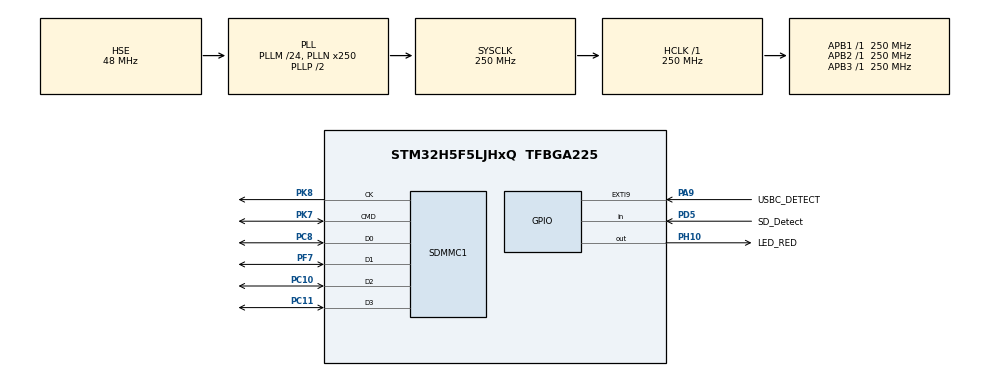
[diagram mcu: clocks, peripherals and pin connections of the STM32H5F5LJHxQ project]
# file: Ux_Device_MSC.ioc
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CORTEX_M33_NS.userName=CORTEX_M33
Mcu.Family=STM32H5
Mcu.Name=STM32H5F5LJHxQ
Mcu.Package=TFBGA225
NVIC.EXTI9_IRQn=true\:5\:0\:true\:false\:true\:false\:true\:true\:true
NVIC.OTG_HS_IRQn=true\:6\:0\:true\:false\:true\:false\:true\:true\:true
NVIC.PriorityGroup=NVIC_PRIORITYGROUP_4
NVIC.SDMMC1_IRQn=true\:5\:0\:true\:false\:true\:false\:true\:true\:true
NVIC.TIM6_IRQn=true\:15\:0\:false\:false\:true\:false\:false\:true\:true
NVIC.TimeBase=TIM6_IRQn
NVIC.TimeBaseIP=TIM6
OTG_HS_DM.Mode=Internal_Phy_Device
OTG_HS_DM.Signal=USB_OTG_HS_DM
OTG_HS_DP.Mode=Internal_Phy_Device
OTG_HS_DP.Signal=USB_OTG_HS_DP
PA9.GPIO_Label=USBC_DETECT
PA9.GPIO_ModeDefaultEXTI=GPIO_MODE_IT_RISING_FALLING
PA9.Signal=GPXTI9
PC10.Mode=SD_4_bits_Wide_bus
PC10.Signal=SDMMC1_D2
PC11.Mode=SD_4_bits_Wide_bus
PC11.Signal=SDMMC1_D3
PC8.Mode=SD_4_bits_Wide_bus
PC8.Signal=SDMMC1_D0
PD5.GPIO_Label=SD_Detect
PD5.GPIO_PuPd=GPIO_PULLUP
PD5.Signal=GPIO_Input
PF7.Mode=SD_4_bits_Wide_bus
PF7.Signal=SDMMC1_D1
PH0-OSC_IN(PH0).Mode=HSE-External-Oscillator
PH0-OSC_IN(PH0).Signal=RCC_OSC_IN
PH1-OSC_OUT(PH1).Mode=HSE-External-Oscillator
PH1-OSC_OUT(PH1).Signal=RCC_OSC_OUT
PH10.GPIO_Label=LED_RED
PH10.GPIO_Speed=GPIO_SPEED_FREQ_VERY_HIGH
PH10.PinState=GPIO_PIN_SET
PH10.Signal=GPIO_Output
PK7.Mode=SD_4_bits_Wide_bus
PK7.Signal=SDMMC1_CMD
PK8.Mode=SD_4_bits_Wide_bus
PK8.Signal=SDMMC1_CK
ProjectManager.HeapSize=0x200
ProjectManager.StackSize=0x400
ProjectManager.TargetToolchain=EWARM V9.20
RCC.ADCFreq_Value=250000000
RCC.AHBFreq_Value=250000000
RCC.APB1Freq_Value=250000000
RCC.APB1TimFreq_Value=250000000
RCC.APB2Freq_Value=250000000
RCC.APB2TimFreq_Value=250000000
RCC.APB3Freq_Value=250000000
RCC.CSI_VALUE=4000000
RCC.CortexFreq_Value=250000000
RCC.EPOD_VALUE=48000000
RCC.HCLKFreq_Value=250000000
RCC.HSE_VALUE=48000000
RCC.HSI48_VALUE=48000000
RCC.HSI_VALUE=64000000
RCC.LSE_VALUE=32768
RCC.LSIRC_VALUE=32000
RCC.PLL2FRACN=0
RCC.PLL3FRACN=0
RCC.PLLFRACN=0
RCC.PLLM=24
RCC.PLLN=250
RCC.PLLSourceVirtual=RCC_PLL1_SOURCE_HSE
RCC.SYSCLKFreq_VALUE=250000000
RCC.SYSCLKSource=RCC_SYSCLKSOURCE_PLLCLK
RCC.USBFreq_Value=258000000
RCC.USBPHYCLKSource=RCC_OTGHSCLKSOURCE_HSE_DIV2
RCC.VCOOutputFreq_Value=500000000
SDMMC1.ClockDiv=4
THREADX.TX_APP_GENERATE_INIT_CODE=false
USBX.BSP.number=1
USBX.Core_System=1
USBX.MAX_POWER_IN_MILLI_AMPER=0
USBX.MAX_POWER_IN_MILLI_AMPER-UX_Device_CoreStack_HS=0
USBX.REG_USBX_DEVICE_CON_CK-UX_Device_CoreStack_HS=0
USBX.USBD_COMPOSITE_USE_IAD-UX_Device_CoreStack_HS=0
USBX.USBD_MSC_EPOUT_ADDR=1
USBX.USBD_PID-UX_Device_CoreStack_HS=22304
USBX.USBD_PRODUCT_STRING-UX_Device_CoreStack_HS=STM32 MSC SD Storage
USBX.USBD_SERIAL_NUMBER-UX_Device_CoreStack_HS=MSC000000001
USBX.USBX_MEM_POOL_VAR_NAME=ux_device_app_byte_pool
USBX.USBX_SYS_SIZE=1024 * 5
USBX.UX_APP_MEM_POOL_SIZE=1024 * 7
USBX.UX_DEVICE_ENABLED_HS=1
USBX.UX_DEVICE_STORAGE=1
USBX.UX_Device_Controller-UX_Device_Controller_HS=1
USBX.UX_Device_CoreStack=1
USBX.UX_Device_CoreStack-UX_Device_CoreStack_HS=1
USBX.UX_SLAVE_CLASS_STORAGE_INCLUDE_MMC=0
USBX.UX_SLAVE_REQUEST_DATA_MAX_LENGTH-UX_Device_CoreStack_HS=512
USBX.UX_enabled_HS=1
USBX0.BSP.STBoard=false
USBX0.BSP.api=Unknown
USBX0.BSP.instance=USB_OTG_HS
USBX0.BSP.ip=USB_OTG_HS
USBX0.BSP.mode=Device_Only
USBX0.BSP.name=UX Device HS
USBX0.BSP.solution=USB_OTG_HS
USB_OTG_HS.VirtualMode=Int_Phy_Device
VP_CORTEX_M33_NS_VS_Hclk.Mode=Hclk_Mode
VP_ICACHE_VS_ICACHE.Mode=DefaultMode
VP_PWR_VS_LPOM.Mode=PowerOptimisation
VP_PWR_VS_SECSignals.Mode=Security/Privilege
VP_SYS_VS_tim6.Mode=TIM6
VP_THREADX_VS_RTOSJjThreadXJjCoreJjDefault.Mode=Core_Default
VP_USBX_Core_System.Mode=Core_System
VP_USBX_UX\ Device\ Controller_HS.Mode=UX_Device_Controller_HS
VP_USBX_UX\ Device\ CoreStack_HS.Mode=UX_Device_CoreStack
VP_USBX_UX\ Device\ MSC_HS.Mode=UX_Device_class_MSC_FS_HS
board=custom

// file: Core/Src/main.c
/* USER CODE BEGIN Header */
/**
  ******************************************************************************
  * @file           : main.c
  * @brief          : Main program body
  ******************************************************************************
  * @attention
  *
  * Copyright (c) 2026 STMicroelectronics.
  * All rights reserved.
  *
  * This software is licensed under terms that can be found in the LICENSE file
  * in the root directory of this software component.
  * If no LICENSE file comes with this software, it is provided AS-IS.
  *
  ******************************************************************************
  */
/* USER CODE END Header */
#include "app_threadx.h"
#include "main.h"

SD_HandleTypeDef hsd1;

PCD_HandleTypeDef hpcd_USB_OTG_HS;

/* USER CODE BEGIN PV */
HAL_SD_CardInfoTypeDef USBD_SD_CardInfo;
/* USER CODE END PV */

void SystemClock_Config(void);
static void MX_GPIO_Init(void);
static void MX_ICACHE_Init(void);

int main(void)
{

  /* USER CODE BEGIN 1 */
  UINT status;
  /* USER CODE END 1 */

  /* MCU Configuration--------------------------------------------------------*/

  /* Reset of all peripherals, Initializes the Flash interface and the Systick. */
  HAL_Init();

  /* Configure the system clock */
  SystemClock_Config();

  /* Initialize all configured peripherals */
  MX_GPIO_Init();
  MX_ICACHE_Init();
  MX_SDMMC1_SD_Init();
  /* USER CODE BEGIN 2 */
  /* Check if SD card is present */
  if(HAL_GPIO_ReadPin(SD_Detect_GPIO_Port, SD_Detect_Pin) == GPIO_PIN_SET)
  {
    Error_Handler();
  }

  /* Get SD card info */
  status = HAL_SD_GetCardInfo(&hsd1, &USBD_SD_CardInfo);

  if (status != HAL_OK)
  {
    Error_Handler();
  }

  /* USER CODE END SysInit */

  /* Initialize all configured peripherals */
  MX_GPIO_Init();
  MX_ICACHE_Init();
  /* Call PreOsInit function */
  /* USER CODE BEGIN 2 */

  /* USER CODE END 2 */

  MX_ThreadX_Init();

  /* We should never get here as control is now taken by the scheduler */

  /* Infinite loop */
  while (1)
  {

  }
}

void SystemClock_Config(void)
{
  RCC_OscInitTypeDef RCC_OscInitStruct = {0};
  RCC_ClkInitTypeDef RCC_ClkInitStruct = {0};

  /** Configure the main internal regulator output voltage
  */
  __HAL_PWR_VOLTAGESCALING_CONFIG(PWR_REGULATOR_VOLTAGE_SCALE0);

  while(!__HAL_PWR_GET_FLAG(PWR_FLAG_VOSRDY)) {}

  /** Initializes the RCC Oscillators according to the specified parameters
  * in the RCC_OscInitTypeDef structure.
  */
  RCC_OscInitStruct.OscillatorType = RCC_OSCILLATORTYPE_HSE;
  RCC_OscInitStruct.HSEState = RCC_HSE_ON;
  RCC_OscInitStruct.PLL.PLLState = RCC_PLL_ON;
  RCC_OscInitStruct.PLL.PLLSource = RCC_PLL1_SOURCE_HSE;
  RCC_OscInitStruct.PLL.PLLM = 24;
  RCC_OscInitStruct.PLL.PLLN = 250;
  RCC_OscInitStruct.PLL.PLLP = 2;
  RCC_OscInitStruct.PLL.PLLQ = 2;
  RCC_OscInitStruct.PLL.PLLR = 2;
  RCC_OscInitStruct.PLL.PLLRGE = RCC_PLL1_VCIRANGE_1;
  RCC_OscInitStruct.PLL.PLLVCOSEL = RCC_PLL1_VCORANGE_WIDE;
  RCC_OscInitStruct.PLL.PLLFRACN = 0;
  if (HAL_RCC_OscConfig(&RCC_OscInitStruct) != HAL_OK)
  {
    Error_Handler();
  }

  /** Initializes the CPU, AHB and APB buses clocks
  */
  RCC_ClkInitStruct.ClockType = RCC_CLOCKTYPE_HCLK|RCC_CLOCKTYPE_SYSCLK
                              |RCC_CLOCKTYPE_PCLK1|RCC_CLOCKTYPE_PCLK2
                              |RCC_CLOCKTYPE_PCLK3;
  RCC_ClkInitStruct.SYSCLKSource = RCC_SYSCLKSOURCE_PLLCLK;
  RCC_ClkInitStruct.AHBCLKDivider = RCC_SYSCLK_DIV1;
  RCC_ClkInitStruct.APB1CLKDivider = RCC_HCLK_DIV1;
  RCC_ClkInitStruct.APB2CLKDivider = RCC_HCLK_DIV1;
  RCC_ClkInitStruct.APB3CLKDivider = RCC_HCLK_DIV1;

  if (HAL_RCC_ClockConfig(&RCC_ClkInitStruct, FLASH_LATENCY_5) != HAL_OK)
  {
    Error_Handler();
  }

  /** Configure the programming delay
  */
  __HAL_FLASH_SET_PROGRAM_DELAY(FLASH_PROGRAMMING_DELAY_2);
}

static void MX_ICACHE_Init(void)
{

  /** Enable instruction cache (default 2-ways set associative cache)
  */
  if (HAL_ICACHE_Enable() != HAL_OK)
  {
    Error_Handler();
  }

}

void MX_SDMMC1_SD_Init(void)
{

  hsd1.Instance = SDMMC1;
  hsd1.Init.ClockEdge = SDMMC_CLOCK_EDGE_RISING;
  hsd1.Init.ClockPowerSave = SDMMC_CLOCK_POWER_SAVE_DISABLE;
  hsd1.Init.BusWide = SDMMC_BUS_WIDE_4B;
  hsd1.Init.HardwareFlowControl = SDMMC_HARDWARE_FLOW_CONTROL_DISABLE;
  hsd1.Init.ClockDiv = 4;
  if (HAL_SD_Init(&hsd1) != HAL_OK)
  {
    Error_Handler();
  }

}

void MX_USB_OTG_HS_PCD_Init(void)
{

  /* USER CODE BEGIN USB_OTG_HS_PCD_Init 1 */
  memset(&hpcd_USB_OTG_HS, 0x0, sizeof(PCD_HandleTypeDef));
  /* USER CODE END USB_OTG_HS_PCD_Init 1 */
  hpcd_USB_OTG_HS.Instance = USB_OTG_HS;
  hpcd_USB_OTG_HS.Init.dev_endpoints = 9;
  hpcd_USB_OTG_HS.Init.speed = PCD_SPEED_HIGH;
  hpcd_USB_OTG_HS.Init.dma_enable = DISABLE;
  hpcd_USB_OTG_HS.Init.phy_itface = PCD_HS_PHY_EMBEDDED;
  hpcd_USB_OTG_HS.Init.Sof_enable = DISABLE;
  hpcd_USB_OTG_HS.Init.low_power_enable = DISABLE;
  hpcd_USB_OTG_HS.Init.lpm_enable = DISABLE;
  hpcd_USB_OTG_HS.Init.vbus_sensing_enable = DISABLE;
  if (HAL_PCD_Init(&hpcd_USB_OTG_HS) != HAL_OK)
  {
    Error_Handler();
  }
  /* USER CODE BEGIN USB_OTG_HS_PCD_Init 2 */
  /* Set Rx FIFO */
  HAL_PCDEx_SetRxFiFo(&hpcd_USB_OTG_HS, 0x200);
  /* Set Tx FIFO 0 */
  HAL_PCDEx_SetTxFiFo(&hpcd_USB_OTG_HS, 0, 0x40);
  /* Set Tx FIFO 1 */
  HAL_PCDEx_SetTxFiFo(&hpcd_USB_OTG_HS, 1, 0x100);
  /* USER CODE END USB_OTG_HS_PCD_Init 2 */

}

static void MX_GPIO_Init(void)
{
  GPIO_InitTypeDef GPIO_InitStruct = {0};

  /* GPIO Ports Clock Enable */
  __HAL_RCC_GPIOD_CLK_ENABLE();
  __HAL_RCC_GPIOA_CLK_ENABLE();
  __HAL_RCC_GPIOH_CLK_ENABLE();

  /*Configure GPIO pin Output Level */
  HAL_GPIO_WritePin(LED_RED_GPIO_Port, LED_RED_Pin, GPIO_PIN_SET);

  /*Configure GPIO pin : SD_Detect_Pin */
  GPIO_InitStruct.Pin = SD_Detect_Pin;
  GPIO_InitStruct.Mode = GPIO_MODE_INPUT;
  GPIO_InitStruct.Pull = GPIO_PULLUP;
  HAL_GPIO_Init(SD_Detect_GPIO_Port, &GPIO_InitStruct);

  /*Configure GPIO pin : USBC_DETECT_Pin */
  GPIO_InitStruct.Pin = USBC_DETECT_Pin;
  GPIO_InitStruct.Mode = GPIO_MODE_IT_RISING_FALLING;
  GPIO_InitStruct.Pull = GPIO_NOPULL;
  HAL_GPIO_Init(USBC_DETECT_GPIO_Port, &GPIO_InitStruct);

  /*Configure GPIO pin : LED_RED_Pin */
  GPIO_InitStruct.Pin = LED_RED_Pin;
  GPIO_InitStruct.Mode = GPIO_MODE_OUTPUT_PP;
  GPIO_InitStruct.Pull = GPIO_NOPULL;
  GPIO_InitStruct.Speed = GPIO_SPEED_FREQ_VERY_HIGH;
  HAL_GPIO_Init(LED_RED_GPIO_Port, &GPIO_InitStruct);

  /* EXTI interrupt init*/
  HAL_NVIC_SetPriority(USBC_DETECT_EXTI_IRQn, 5, 0);
  HAL_NVIC_EnableIRQ(USBC_DETECT_EXTI_IRQn);

}

void HAL_TIM_PeriodElapsedCallback(TIM_HandleTypeDef *htim)
{
  if (htim->Instance == TIM6)
  {
    HAL_IncTick();
  }
}

void Error_Handler(void)
{
  /* USER CODE BEGIN Error_Handler_Debug */
  while (1)
  {
    HAL_GPIO_TogglePin(LED_RED_GPIO_Port, (uint16_t)LED_RED_Pin);
    HAL_Delay(200);
  }
  /* USER CODE END Error_Handler_Debug */
}
